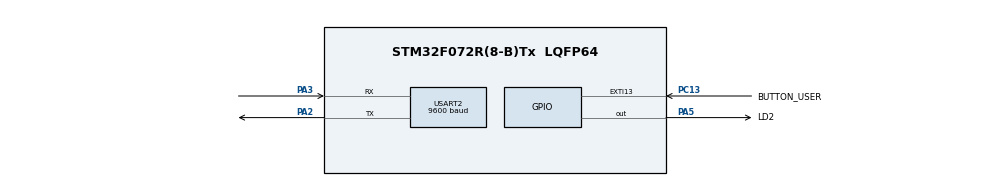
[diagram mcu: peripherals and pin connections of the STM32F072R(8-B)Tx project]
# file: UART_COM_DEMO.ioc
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Mcu.Family=STM32F0
Mcu.Name=STM32F072R(8-B)Tx
Mcu.Package=LQFP64
NVIC.EXTI4_15_IRQn=true\:0\:0\:false\:false\:true\:true\:true
NVIC.USART2_IRQn=true\:0\:0\:false\:false\:true\:true\:true
PA13.Mode=Serial_Wire
PA13.Signal=SYS_SWDIO
PA14.Mode=Serial_Wire
PA14.Signal=SYS_SWCLK
PA2.Mode=Asynchronous
PA2.Signal=USART2_TX
PA3.Mode=Asynchronous
PA3.Signal=USART2_RX
PA5.GPIO_Label=LD2
PA5.PinState=GPIO_PIN_SET
PA5.Signal=GPIO_Output
PC13.GPIO_Label=BUTTON_USER
PC13.GPIO_ModeDefaultEXTI=GPIO_MODE_IT_RISING
PC13.Signal=GPXTI13
PC14-OSC32_IN.Mode=LSE-External-Oscillator
PC14-OSC32_IN.Signal=RCC_OSC32_IN
PC15-OSC32_OUT.Mode=LSE-External-Oscillator
PC15-OSC32_OUT.Signal=RCC_OSC32_OUT
PF0-OSC_IN.Mode=HSE-External-Oscillator
PF0-OSC_IN.Signal=RCC_OSC_IN
PF1-OSC_OUT.Mode=HSE-External-Oscillator
PF1-OSC_OUT.Signal=RCC_OSC_OUT
ProjectManager.HeapSize=0x200
ProjectManager.StackSize=0x400
ProjectManager.TargetToolchain=STM32CubeIDE
USART2.BaudRate=9600
USART2.VirtualMode-Asynchronous=VM_ASYNC
board=custom

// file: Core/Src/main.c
/* USER CODE BEGIN Header */
/**
  ******************************************************************************
  * @file           : main.c
  * @brief          : Main program body
  ******************************************************************************
  * @attention
  *
  * <h2><center>&copy; Copyright (c) 2020 STMicroelectronics.
  * All rights reserved.</center></h2>
  *
  * This software component is licensed by ST under BSD 3-Clause license,
  * the "License"; You may not use this file except in compliance with the
  * License. You may obtain a copy of the License at:
  *                        opensource.org/licenses/BSD-3-Clause
  *
  ******************************************************************************
  */
/* USER CODE END Header */

#include "main.h"

UART_HandleTypeDef huart2;

/* USER CODE BEGIN PV */

__IO ITStatus UartReady = RESET;
__IO uint32_t UserButtonStatus = 0;  /* set to 1 after User Button interrupt  */

/* Buffer used for transmission */
uint8_t aTxBuffer[] = "HH";

/* Buffer used for reception */
uint8_t aRxBuffer[RXBUFFERSIZE];

/* Storage Value */
uint8_t statusVal;
uint8_t addrVal;

/* USER CODE END PV */

void SystemClock_Config(void);
static void MX_GPIO_Init(void);
static void MX_USART2_UART_Init(void);

int main(void)
{

  /* MCU Configuration--------------------------------------------------------*/

  /* Reset of all peripherals, Initializes the Flash interface and the Systick. */

	HAL_Init();

  /* Configure the system clock */
  SystemClock_Config();

  /* Initialize all configured peripherals */
  MX_GPIO_Init();
  MX_USART2_UART_Init();
  /* USER CODE BEGIN 2 */

  //Enable interrupts for transmission complete
  __HAL_UART_ENABLE_IT(&huart2, UART_IT_TC);		//Activate Flags RXNE
  __HAL_UART_ENABLE_IT(&huart2, UART_IT_RXNE);		//Activate flags TX

  HAL_UART_Transmit_IT(&huart2, (uint8_t*)aTxBuffer, TXBUFFERSIZE);

  aTxBuffer[0] = 2;
  aTxBuffer[1] = 3;
  /*
  for (int i = 0; i < TXBUFFERSIZE; i++)
  {
	  aTxBuffer[i] = 1;
  }
*/
  /* USER CODE END 2 */

  /* Infinite loop */
  /* USER CODE BEGIN WHILE */
  while (1)
  {

	 // HAL_GPIO_WritePin(LD2_GPIO_Port, LD2_Pin, GPIO_PIN_SET);
	  if (addrVal == 2)
	  {
		  HAL_GPIO_TogglePin(LD2_GPIO_Port, LD2_Pin);
		  HAL_Delay(200);
		  HAL_GPIO_TogglePin(LD2_GPIO_Port, LD2_Pin);
		  HAL_Delay(200);
		  HAL_GPIO_TogglePin(LD2_GPIO_Port, LD2_Pin);
		  HAL_Delay(200);
		  HAL_GPIO_TogglePin(LD2_GPIO_Port, LD2_Pin);
		  HAL_Delay(500);

		  addrVal = 0;
	  }

    /* USER CODE END WHILE */

  }
}

void SystemClock_Config(void)
{
  RCC_OscInitTypeDef RCC_OscInitStruct = {0};
  RCC_ClkInitTypeDef RCC_ClkInitStruct = {0};
  RCC_PeriphCLKInitTypeDef PeriphClkInit = {0};

  /** Initializes the CPU, AHB and APB busses clocks
  */
  RCC_OscInitStruct.OscillatorType = RCC_OSCILLATORTYPE_HSI;
  RCC_OscInitStruct.HSIState = RCC_HSI_ON;
  RCC_OscInitStruct.HSICalibrationValue = RCC_HSICALIBRATION_DEFAULT;
  RCC_OscInitStruct.PLL.PLLState = RCC_PLL_NONE;
  if (HAL_RCC_OscConfig(&RCC_OscInitStruct) != HAL_OK)
  {
    Error_Handler();
  }
  /** Initializes the CPU, AHB and APB busses clocks
  */
  RCC_ClkInitStruct.ClockType = RCC_CLOCKTYPE_HCLK|RCC_CLOCKTYPE_SYSCLK
                              |RCC_CLOCKTYPE_PCLK1;
  RCC_ClkInitStruct.SYSCLKSource = RCC_SYSCLKSOURCE_HSI;
  RCC_ClkInitStruct.AHBCLKDivider = RCC_SYSCLK_DIV1;
  RCC_ClkInitStruct.APB1CLKDivider = RCC_HCLK_DIV1;

  if (HAL_RCC_ClockConfig(&RCC_ClkInitStruct, FLASH_LATENCY_0) != HAL_OK)
  {
    Error_Handler();
  }
  PeriphClkInit.PeriphClockSelection = RCC_PERIPHCLK_USART2;
  PeriphClkInit.Usart2ClockSelection = RCC_USART2CLKSOURCE_PCLK1;
  if (HAL_RCCEx_PeriphCLKConfig(&PeriphClkInit) != HAL_OK)
  {
    Error_Handler();
  }
}

static void MX_USART2_UART_Init(void)
{

  huart2.Instance = USART2;
  huart2.Init.BaudRate = 9600;
  huart2.Init.WordLength = UART_WORDLENGTH_8B;
  huart2.Init.StopBits = UART_STOPBITS_1;
  huart2.Init.Parity = UART_PARITY_NONE;
  huart2.Init.Mode = UART_MODE_TX_RX;
  huart2.Init.HwFlowCtl = UART_HWCONTROL_NONE;
  huart2.Init.OverSampling = UART_OVERSAMPLING_16;
  huart2.Init.OneBitSampling = UART_ONE_BIT_SAMPLE_DISABLE;
  huart2.AdvancedInit.AdvFeatureInit = UART_ADVFEATURE_NO_INIT;
  if (HAL_UART_Init(&huart2) != HAL_OK)
  {
    Error_Handler();
  }

}

static void MX_GPIO_Init(void)
{
  GPIO_InitTypeDef GPIO_InitStruct = {0};

  /* GPIO Ports Clock Enable */
  __HAL_RCC_GPIOC_CLK_ENABLE();
  __HAL_RCC_GPIOF_CLK_ENABLE();
  __HAL_RCC_GPIOA_CLK_ENABLE();

  /*Configure GPIO pin Output Level */
  HAL_GPIO_WritePin(LD2_GPIO_Port, LD2_Pin, GPIO_PIN_SET);

  /*Configure GPIO pin : BUTTON_USER_Pin */
  GPIO_InitStruct.Pin = BUTTON_USER_Pin;
  GPIO_InitStruct.Mode = GPIO_MODE_IT_RISING;
  GPIO_InitStruct.Pull = GPIO_NOPULL;
  HAL_GPIO_Init(BUTTON_USER_GPIO_Port, &GPIO_InitStruct);

  /*Configure GPIO pin : LD2_Pin */
  GPIO_InitStruct.Pin = LD2_Pin;
  GPIO_InitStruct.Mode = GPIO_MODE_OUTPUT_PP;
  GPIO_InitStruct.Pull = GPIO_NOPULL;
  GPIO_InitStruct.Speed = GPIO_SPEED_FREQ_LOW;
  HAL_GPIO_Init(LD2_GPIO_Port, &GPIO_InitStruct);

  /* EXTI interrupt init*/
  HAL_NVIC_SetPriority(EXTI4_15_IRQn, 0, 0);
  HAL_NVIC_EnableIRQ(EXTI4_15_IRQn);

}

/* USER CODE BEGIN 4 */

int buffToStatus(uint8_t* buffer)
{
    statusVal = buffer[1];
    addrVal = buffer[0];
}

/**
  * @brief  Tx Transfer completed callback
  * @param  UartHandle: UART handle.
  * @note   This example shows a simple way to report end of IT Tx transfer, and
  *         you can add your own implementation.
  * @retval None
  */
void HAL_UART_TxCpltCallback(UART_HandleTypeDef *UartHandle)
{
	 HAL_GPIO_WritePin(LD2_GPIO_Port, LD2_Pin, GPIO_PIN_RESET);

}

/**
  * @brief  Rx Transfer completed callback
  * @param  UartHandle: UART handle
  * @note   This example shows a simple way to report end of DMA Rx transfer, and
  *         you can add your own implementation.
  * @retval None
  */
void HAL_UART_RxCpltCallback(UART_HandleTypeDef *huart2)
{

	HAL_GPIO_TogglePin(LD2_GPIO_Port, LD2_Pin);
	statusVal = aRxBuffer[1];
	addrVal = aRxBuffer[0];
}

/**
  * @brief  UART error callbacks
  * @param  UartHandle: UART handle
  * @note   This example shows a simple way to report transfer error, and you can
  *         add your own implementation.
  * @retval None
  */
void HAL_UART_ErrorCallback(UART_HandleTypeDef *huart2)
{
    Error_Handler();
}

/**
  * @brief EXTI line detection callbacks
  * @param GPIO_Pin: Specifies the pins connected EXTI line
  * @retval None
  */
void HAL_GPIO_EXTI_Callback(uint16_t GPIO_Pin)
{
  if(GPIO_Pin == BUTTON_USER_Pin)
  {
	  HAL_UART_Transmit_IT(&huart2, (uint8_t*)aTxBuffer, TXBUFFERSIZE);
  }
}

/* USER CODE END 4 */

void Error_Handler(void)
{
  /* USER CODE BEGIN Error_Handler_Debug */
  /* User can add his own implementation to report the HAL error return state */
	  /* Turn LED2 on */
		HAL_GPIO_WritePin(LD2_GPIO_Port, LD2_Pin, GPIO_PIN_SET);
	    while(1)
	  {
	    /* Error if LED2 is slowly blinking (1 sec. period) */
	    HAL_GPIO_TogglePin(LD2_GPIO_Port, LD2_Pin);
	    HAL_Delay(1000);
	  }
  /* USER CODE END Error_Handler_Debug */
}

/************************ (C) COPYRIGHT STMicroelectronics *****END OF FILE****/
